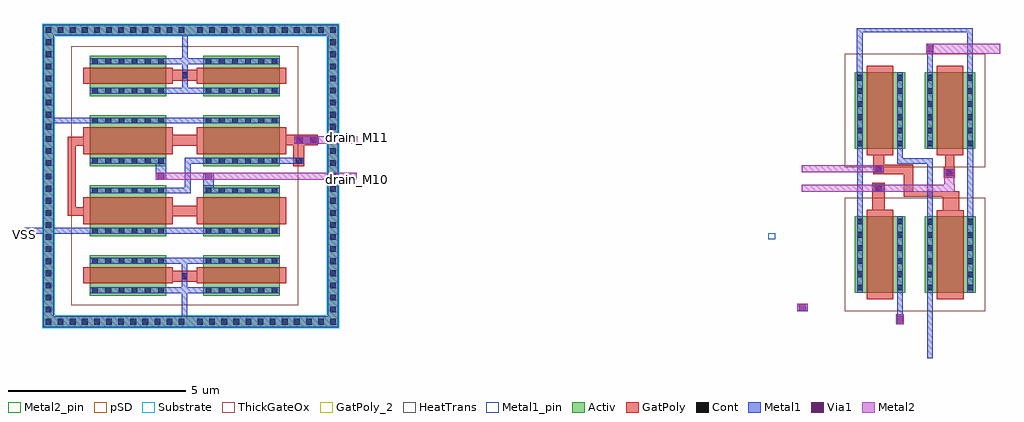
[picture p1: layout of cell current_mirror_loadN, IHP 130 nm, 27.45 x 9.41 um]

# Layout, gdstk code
from math import pi, radians
import gdstk
lib = gdstk.Library(unit=1e-6, precision=5e-09)
def R(c, l, rs):  # rectangles x0, y0, x1, y1
    for r in rs: c.add(gdstk.rectangle(r[:2], r[2:], *l))
def A(c, l, x, y, w, h, nx, ny, dx, dy):  # array of equal rectangles
    R(c, l, [(x+i*dx, y+j*dy, x+i*dx+w, y+j*dy+h) for i in range(nx) for j in range(ny)])
def P(c, l, *ps):  # polygons
    for p in ps: c.add(gdstk.Polygon(p, *l))
Activ = (1, 0)
GatPoly = (5, 0)
GatPoly_2 = (5, 2)
Cont = (6, 0)
Metal1 = (8, 0)
Metal1_pin = (8, 2)
Metal2 = (10, 0)
Metal2_pin = (10, 2)
pSD = (14, 0)
Via1 = (19, 0)
Substrate = (40, 0)
ThickGateOx = (44, 0)
HeatTrans = (51, 0)

nmoshv_3 = lib.new_cell('nmosHV$3')
R(nmoshv_3, Activ, [(0,0,0.3,0.3), (0,0,1.43,2.15), (1.13,0,1.43,0.3)])
R(nmoshv_3, GatPoly, [(0.34,-0.18,1.09,2.33)])
R(nmoshv_3, GatPoly_2, [(0.34,-0.18,1.09,2.33)])
A(nmoshv_3, Cont, 0.07, 0.07, 0.16, 0.16, 1, 6, 0, 0.37)
A(nmoshv_3, Cont, 1.2, 0.07, 0.16, 0.16, 1, 6, 0, 0.37)
R(nmoshv_3, Metal1, [(0.07,0,0.23,2.15), (1.2,0,1.36,2.15)])
R(nmoshv_3, Metal1_pin, [(0.07,0,0.23,2.15), (1.2,0,1.36,2.15)])
R(nmoshv_3, ThickGateOx, [(-0.27,-0.52,1.7,2.67)])
R(nmoshv_3, HeatTrans, [(0.34,-0.18,1.09,2.33)])
nmoshv_3.add(gdstk.Label('nmosHV', (0.715,1.075), layer=63, texttype=0))
nmoshv_3.add(gdstk.Label('nmosHV', (0.715,1.075), layer=51, texttype=0))

nmoshv_1 = lib.new_cell('nmosHV$1')
R(nmoshv_1, Activ, [(0,0,0.3,0.3), (0,0,1.13,2.15), (0.83,0,1.13,0.3)])
R(nmoshv_1, GatPoly, [(0.34,-0.18,0.79,2.33)])
R(nmoshv_1, GatPoly_2, [(0.34,-0.18,0.79,2.33)])
A(nmoshv_1, Cont, 0.07, 0.07, 0.16, 0.16, 1, 6, 0, 0.37)
A(nmoshv_1, Cont, 0.9, 0.07, 0.16, 0.16, 1, 6, 0, 0.37)
R(nmoshv_1, Metal1, [(0.07,0,0.23,2.15), (0.9,0,1.06,2.15)])
R(nmoshv_1, Metal1_pin, [(0.07,0,0.23,2.15), (0.9,0,1.06,2.15)])
R(nmoshv_1, ThickGateOx, [(-0.27,-0.52,1.4,2.67)])
R(nmoshv_1, HeatTrans, [(0.34,-0.18,0.79,2.33)])
nmoshv_1.add(gdstk.Label('nmosHV', (0.565,1.075), layer=63, texttype=0))
nmoshv_1.add(gdstk.Label('nmosHV', (0.565,1.075), layer=51, texttype=0))

via_stack = lib.new_cell('via_stack')
R(via_stack, Metal1, [(-0.145,-0.105,0.145,0.105)])
R(via_stack, Metal2, [(-0.145,-0.1,0.145,0.1)])
R(via_stack, Via1, [(-0.095,-0.095,0.095,0.095)])

via_stack_5 = lib.new_cell('via_stack$5')
R(via_stack_5, GatPoly, [(-0.15,-0.15,0.15,0.15)])
R(via_stack_5, Cont, [(-0.08,-0.08,0.08,0.08)])
R(via_stack_5, Metal1, [(-0.13,-0.08,0.13,0.08)])

via_stack_3 = lib.new_cell('via_stack$3')
R(via_stack_3, GatPoly, [(-0.32,-0.15,0.32,0.15)])
R(via_stack_3, Cont, [(-0.25,-0.08,-0.09,0.08), (0.09,-0.08,0.25,0.08)])
R(via_stack_3, Metal1, [(-0.35,-0.105,0.35,0.105)])
R(via_stack_3, Metal2, [(-0.35,-0.1,0.35,0.1)])
R(via_stack_3, Via1, [(-0.3,-0.095,-0.11,0.095), (0.11,-0.095,0.3,0.095)])

guard_ring_2 = lib.new_cell('guard_ring$2')
R(guard_ring_2, Activ, [(-4.25,-3.85,-3.95,3.85), (3.95,-3.85,4.25,3.85), (-4.25,3.85,4.25,4.15)])
P(guard_ring_2, Activ, [(-4.25,-4.15),(-4.25,3.85),(-3.95,3.85),(-3.95,-3.85),(3.95,-3.85),(3.95,3.85),(-4.25,3.85),(-4.25,4.15),(4.25,4.15),(4.25,-4.15)])
A(guard_ring_2, Cont, -4.18, -4.08, 0.16, 0.16, 12, 2, 0.34, 8)
A(guard_ring_2, Cont, -0.06, -4.08, 0.16, 0.16, 13, 2, 0.34, 8)
A(guard_ring_2, Cont, -4.18, -3.74, 0.16, 0.16, 1, 11, 0, 0.34)
A(guard_ring_2, Cont, 4.02, -3.74, 0.16, 0.16, 1, 11, 0, 0.34)
A(guard_ring_2, Cont, -4.18, 0.18, 0.16, 0.16, 1, 11, 0, 0.34)
A(guard_ring_2, Cont, 4.02, 0.18, 0.16, 0.16, 1, 11, 0, 0.34)
R(guard_ring_2, Metal1, [(-4.25,-4.15,4.25,-3.85), (-4.25,-3.85,-3.95,3.85), (3.95,-3.85,4.25,3.85), (-4.25,3.85,4.25,4.15)])
R(guard_ring_2, pSD, [(-4.28,-3.82,-3.92,3.82), (3.92,-3.82,4.28,3.82), (-4.28,3.82,4.28,4.18)])
P(guard_ring_2, pSD, [(-4.28,-4.18),(-4.28,3.82),(-3.92,3.82),(-3.92,-3.82),(3.92,-3.82),(3.92,3.82),(-4.28,3.82),(-4.28,4.18),(4.28,4.18),(4.28,-4.18)])
R(guard_ring_2, Substrate, [(-4.28,-3.82,-3.92,3.82), (3.92,-3.82,4.28,3.82), (-4.28,3.82,4.28,4.18)])
P(guard_ring_2, Substrate, [(-4.28,-4.18),(-4.28,3.82),(-3.92,3.82),(-3.92,-3.82),(3.92,-3.82),(3.92,3.82),(-4.28,3.82),(-4.28,4.18),(4.28,4.18),(4.28,-4.18)])
guard_ring_2.add(gdstk.Label('sub!', (0,-4), layer=63, texttype=0))

via_stack_4 = lib.new_cell('via_stack$4')
R(via_stack_4, GatPoly, [(-0.15,-0.15,0.15,0.15)])
R(via_stack_4, Cont, [(-0.08,-0.08,0.08,0.08)])
R(via_stack_4, Metal1, [(-0.145,-0.105,0.145,0.105)])
R(via_stack_4, Metal2, [(-0.145,-0.1,0.145,0.1)])
R(via_stack_4, Via1, [(-0.095,-0.095,0.095,0.095)])

current_mirror_loadn = lib.new_cell('current_mirror_loadN')
R(current_mirror_loadn, GatPoly, [(-0.775,-2.43,1.145,-2.13), (0.03,-2.43,0.71,-2.13), (19.52,-1.34,19.875,0.35), (21.505,-1.29,21.975,0.11), (-0.975,-0.595,1.23,-0.295), (-3.095,-0.58,-2.88,1.64), (-3,-0.58,-1.935,-0.34), (20.405,-0.045,20.67,0.855), (20.405,-0.045,21.975,0.11), (21.575,0.505,21.825,2.01), (19.55,0.59,19.86,1.83), (19.55,0.59,20.67,0.855), (3.245,0.815,3.545,1.7), (-3.095,1.385,-1.835,1.64), (-0.99,1.39,1.155,1.69), (2.24,1.4,3.935,1.7), (-0.93,3.22,0.35,3.52), (0.05,3.22,1.315,3.52)])
R(current_mirror_loadn, Metal1, [(21.07,-4.59,21.23,-2.525), (0.1,-3.71,0.26,-2.15), (20.225,-3.595,20.385,-2.515), (-0.56,-2.755,0.94,-2.595), (0.1,-2.41,0.26,-1.765), (-0.56,-1.925,0.94,-1.765), (-4.33,-1.085,2.86,-0.925), (21.07,-0.83,21.23,1.035), (22.195,-0.83,22.36,1.53), (19.095,-0.825,19.255,1.52), (-0.56,0.045,0.355,0.205), (0.19,0.045,0.355,1.045), (0.71,0.045,1,0.63), (-0.62,0.425,-0.33,1.045), (0.19,0.885,0.935,1.045), (2.86,0.885,3.365,1.045), (20.225,0.885,21.23,1.035), (20.225,0.885,20.385,1.535), (-3.79,2.015,-2.33,2.175), (-0.48,2.015,0.86,2.175), (-0.49,2.855,1.01,3.015), (0.12,2.855,0.28,4.79), (21.075,3.215,21.225,4.26), (19.08,3.22,19.255,4.695), (22.195,3.22,22.355,4.695), (-0.56,3.685,0.94,3.845), (19.08,4.575,22.355,4.695)])
R(current_mirror_loadn, Metal1_pin, [(16.595,-1.24,16.795,-1.08), (-4.33,-1.085,-4.13,-0.925)])
R(current_mirror_loadn, Metal2, [(17.545,0.095,19.85,0.295), (19.56,0.095,21.845,0.295), (21.545,0.095,21.835,0.74), (-0.62,0.43,1,0.63), (0.71,0.43,5.02,0.63), (17.545,0.64,19.845,0.84), (3.265,1.45,5.04,1.65), (21.04,3.97,23.115,4.26)])
R(current_mirror_loadn, Metal2_pin, [(4.86,0.43,5.02,0.63), (4.87,1.45,5.04,1.65)])
current_mirror_loadn.add(gdstk.Reference(nmoshv_3, (0.71,0.275), rotation=3*pi/2))
current_mirror_loadn.add(gdstk.Reference(nmoshv_3, (0.71,2.245), rotation=3*pi/2))
current_mirror_loadn.add(gdstk.Reference(nmoshv_1, (0.71,-1.695), rotation=3*pi/2))
current_mirror_loadn.add(gdstk.Reference(nmoshv_1, (-2.48,-1.695), rotation=3*pi/2))
current_mirror_loadn.add(gdstk.Reference(nmoshv_1, (0.71,3.915), rotation=3*pi/2))
current_mirror_loadn.add(gdstk.Reference(nmoshv_1, (-2.48,3.915), rotation=3*pi/2))
current_mirror_loadn.add(gdstk.Reference(nmoshv_3, (-2.48,2.245), rotation=3*pi/2))
current_mirror_loadn.add(gdstk.Reference(via_stack, (-0.475,0.53), rotation=pi))
current_mirror_loadn.add(gdstk.Reference(nmoshv_3, (-2.48,0.275), rotation=3*pi/2))
current_mirror_loadn.add(gdstk.Reference(via_stack_5, (0.18,-2.28), rotation=3*pi/2))
current_mirror_loadn.add(gdstk.Reference(via_stack_5, (0.2,3.37), rotation=3*pi/2))
current_mirror_loadn.add(gdstk.Reference(via_stack, (0.855,0.53), rotation=pi))
current_mirror_loadn.add(gdstk.Reference(via_stack_5, (3.395,0.965), rotation=pi))
current_mirror_loadn.add(gdstk.Reference(via_stack_3, (3.615,1.55), rotation=pi))
current_mirror_loadn.add(gdstk.Reference(guard_ring_2, (0.36,0.54), rotation=3*pi/2))
current_mirror_loadn.add(gdstk.Reference(nmoshv_3, (20.455,-0.595), rotation=pi))
current_mirror_loadn.add(gdstk.Reference(nmoshv_3, (22.43,-0.6), rotation=pi))
current_mirror_loadn.add(gdstk.Reference(nmoshv_3, (22.425,3.45), rotation=pi))
current_mirror_loadn.add(gdstk.Reference(via_stack_4, (21.69,0.64)))
current_mirror_loadn.add(gdstk.Reference(nmoshv_3, (20.455,3.45), rotation=pi))
current_mirror_loadn.add(gdstk.Reference(via_stack_4, (19.705,0.195)))
current_mirror_loadn.add(gdstk.Reference(via_stack_4, (19.7,0.74)))
current_mirror_loadn.add(gdstk.Reference(via_stack, (17.56,-3.155)))
current_mirror_loadn.add(gdstk.Reference(via_stack, (20.305,-3.49), rotation=3*pi/2))
current_mirror_loadn.add(gdstk.Reference(via_stack, (21.14,4.115), rotation=3*pi/2))
current_mirror_loadn.add(gdstk.Label('VSS', (-4.325,-1.1), layer=8, texttype=0))
current_mirror_loadn.add(gdstk.Label('drain_M11', (5.04,1.63), layer=10, texttype=0))
current_mirror_loadn.add(gdstk.Label('drain_M10', (5.04,0.445), layer=10, texttype=0))

lib.write_gds('current_mirror_loadN.gds')
